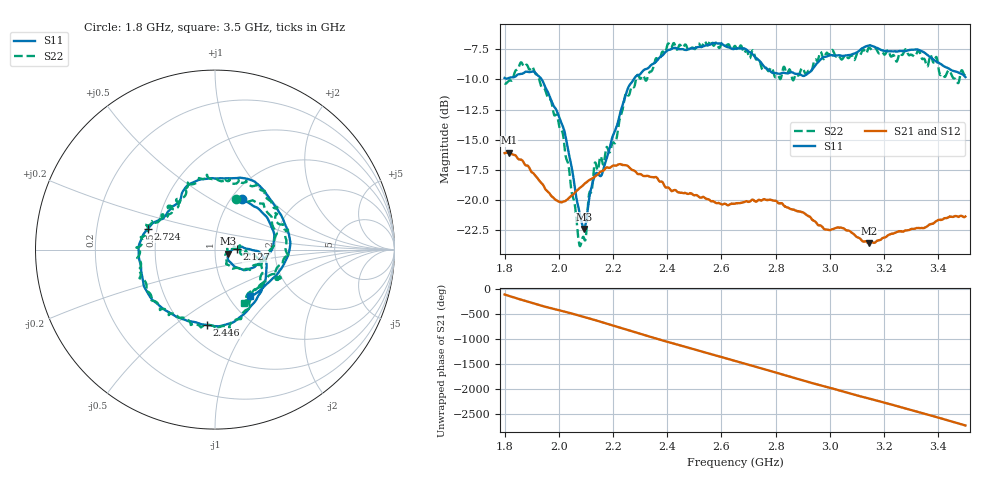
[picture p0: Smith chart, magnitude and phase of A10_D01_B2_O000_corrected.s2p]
! Created with skrf 1.9.0 (http://scikit-rf.org).
# Hz S RI R 50.0
!freq ReS11 ImS11 ReS21 ImS21 ReS12 ImS12 ReS22 ImS22
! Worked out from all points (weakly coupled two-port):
!   1601 points, 1.8 GHz to 3.5 GHz, reference 50 ohm
!   highest |S21| = -16.09 dB at 1.816 GHz (marker M1); lowest = -23.6 dB at 3.144 GHz (marker M2)
!   lowest |S11| = -22.4 dB at 2.093 GHz (marker M3), VSWR 1.16, Z = 57.7 - j2.61 ohm
!   |S11| at or under -10 dB: 1.937 GHz to 2.276 GHz (339 MHz wide, 16.1 % of centre)
!   |S22| runs from -23.9 to -6.8 dB; largest |S21 - S12| = 0.0031
!   S11 on the Smith chart (normalised r, x): 1.8 GHz: 1.12, +0.71; 2.127 GHz: 1.27, +0.01; 2.446 GHz: 0.65, -0.66; 2.724 GHz: 0.45, +0.12; 3.5 GHz: 1.26, -0.72
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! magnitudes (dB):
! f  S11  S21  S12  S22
! 1.8 GHz  -9.9  -16.1  -16.1  -10.3
! 1.816 GHz  -9.9  -16.1  -16.1  -10.1
! 1.901 GHz  -9.4  -17.7  -17.7  -8.9
! 1.969 GHz  -11.6  -19.6  -19.6  -11.7
! 2.021 GHz  -14.3  -20.1  -20.1  -15.6
! 2.073 GHz  -20.7  -19.1  -19.1  -23.4
! 2.084 GHz  -21.8  -18.9  -18.9  -23.5
! 2.093 GHz  -22.4  -18.7  -18.8  -23.2
! 2.127 GHz  -18.4  -18.2  -18.2  -18.0
! 2.16 GHz  -17.8  -17.6  -17.6  -16.8
! 2.208 GHz  -14.2  -17.2  -17.1  -15.3
! 2.259 GHz  -10.5  -17.3  -17.3  -11.3
! 2.367 GHz  -8.3  -18.3  -18.3  -8.4
! 2.446 GHz  -7.5  -19.4  -19.4  -7.1
! 2.65 GHz  -7.5  -20.3  -20.3  -7.2
! 2.724 GHz  -8.1  -20.1  -20.1  -8.2
! 2.81 GHz  -9.5  -20.3  -20.2  -9.7
! 2.934 GHz  -9.2  -21.6  -21.6  -9.2
! 3.144 GHz  -7.2  -23.6  -23.5  -7.4
! 3.217 GHz  -7.7  -22.9  -22.9  -7.7
! 3.328 GHz  -7.5  -22.3  -22.3  -7.6
! 3.5 GHz  -9.8  -21.4  -21.4  -9.4
